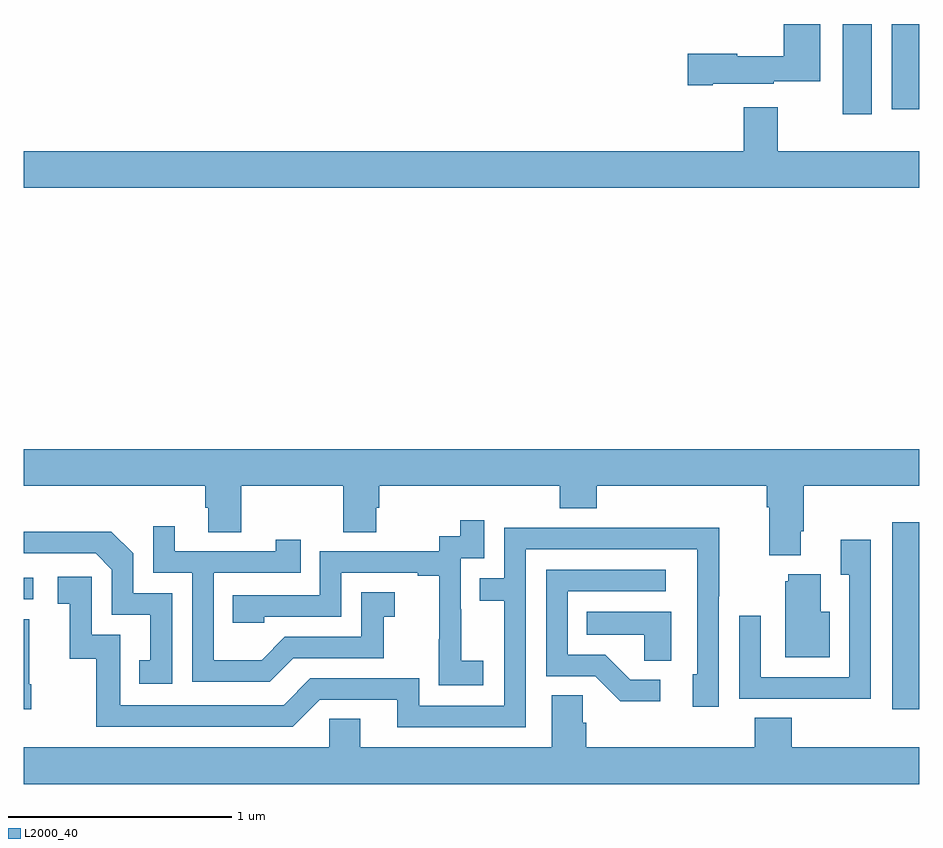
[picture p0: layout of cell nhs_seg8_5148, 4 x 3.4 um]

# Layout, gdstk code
import gdstk
lib = gdstk.Library(unit=1e-6, precision=1e-09)
def R(c, l, rs):  # rectangles x0, y0, x1, y1
    for r in rs: c.add(gdstk.rectangle(r[:2], r[2:], *l))
def P(c, l, *ps):  # polygons
    for p in ps: c.add(gdstk.Polygon(p, *l))
L2000_40 = (2000, 40)

nhs_seg8_5148 = lib.new_cell('nhs_seg8_5148')
R(nhs_seg8_5148, L2000_40, [(424.88,1112.838,425,1113.673), (421,1113.33,421.042,1113.426), (424.658,1115.496,424.789,1115.9), (424.877,1115.52,425,1115.9)])
P(nhs_seg8_5148, L2000_40, [(424.078,1115.633),(424.35,1115.633),(424.35,1115.645),(424.558,1115.645),(424.558,1115.9),(424.396,1115.9),(424.396,1115.755),(424.188,1115.755),(424.188,1115.768),(423.966,1115.768),(423.966,1115.626),(424.078,1115.626)],
  [(425,1115.332),(424.369,1115.332),(424.369,1115.527),(424.217,1115.527),(424.217,1115.332),(421,1115.332),(421,1115.168),(425,1115.168)],
  [(421,1113.836),(421.811,1113.836),(421.811,1113.738),(421.823,1113.738),(421.823,1113.628),(421.971,1113.628),(421.971,1113.836),(422.428,1113.836),(422.428,1113.628),(422.575,1113.628),(422.575,1113.738),(422.588,1113.738),(422.588,1113.836),(423.395,1113.836),(423.395,1113.737),(423.56,1113.737),(423.56,1113.836),(424.319,1113.836),(424.319,1113.74),(424.331,1113.74),(424.331,1113.527),(424.471,1113.527),(424.471,1113.634),(424.484,1113.634),(424.484,1113.836),(425,1113.836),(425,1114),(421,1114)],
  [(423.052,1113.055),(422.954,1113.055),(422.954,1113.284),(422.952,1113.284),(422.952,1113.513),(423.057,1113.513),(423.057,1113.682),(422.949,1113.682),(422.949,1113.612),(422.856,1113.612),(422.856,1113.543),(422.322,1113.543),(422.322,1113.348),(421.933,1113.348),(421.933,1113.225),(422.073,1113.225),(422.073,1113.252),(422.418,1113.252),(422.418,1113.447),(422.759,1113.447),(422.759,1113.435),(422.855,1113.435),(422.855,1113.151),(422.854,1113.151),(422.854,1112.945),(423.052,1112.945)],
  [(422.203,1113.066),(422.607,1113.066),(422.607,1113.251),(422.656,1113.251),(422.656,1113.361),(422.508,1113.361),(422.508,1113.162),(422.166,1113.162),(422.062,1113.058),(421.848,1113.058),(421.848,1113.447),(422.237,1113.447),(422.237,1113.595),(422.126,1113.595),(422.126,1113.543),(421.675,1113.543),(421.675,1113.655),(421.578,1113.655),(421.578,1113.447),(421.752,1113.447),(421.752,1112.961),(422.098,1112.961)],
  [(423.243,1113.552),(424.008,1113.552),(424.008,1112.994),(423.989,1112.994),(423.989,1112.85),(424.104,1112.85),(424.104,1113.343),(424.107,1113.343),(424.107,1113.65),(423.643,1113.65),(423.643,1113.648),(423.147,1113.648),(423.147,1113.423),(423.037,1113.423),(423.037,1113.322),(423.147,1113.322),(423.147,1112.853),(422.766,1112.853),(422.766,1112.976),(422.28,1112.976),(422.16,1112.856),(421.431,1112.856),(421.431,1113.171),(421.302,1113.171),(421.302,1113.43),(421.152,1113.43),(421.152,1113.309),(421.205,1113.309),(421.205,1113.063),(421.323,1113.063),(421.323,1112.76),(422.202,1112.76),(422.322,1112.88),(422.669,1112.88),(422.669,1112.757),(423.243,1112.757)],
  [(421.662,1113.357),(421.488,1113.357),(421.488,1113.534),(421.39,1113.632),(421,1113.632),(421,1113.534),(421.32,1113.534),(421.392,1113.462),(421.392,1113.261),(421.565,1113.261),(421.565,1113.057),(421.516,1113.057),(421.516,1112.952),(421.662,1112.952)],
  [(424.785,1113.595),(424.649,1113.595),(424.649,1113.439),(424.689,1113.439),(424.689,1112.982),(424.293,1112.982),(424.293,1113.256),(424.197,1113.256),(424.197,1112.886),(424.513,1112.886),(424.513,1112.885),(424.785,1112.885)],
  [(423.844,1112.97),(423.709,1112.97),(423.598,1113.081),(423.429,1113.081),(423.429,1113.366),(423.868,1113.366),(423.868,1113.462),(423.333,1113.462),(423.333,1112.985),(423.552,1112.985),(423.665,1112.873),(423.844,1112.873)],
  [(424.6,1113.274),(424.561,1113.274),(424.561,1113.442),(424.415,1113.442),(424.415,1113.411),(424.403,1113.411),(424.403,1113.071),(424.6,1113.071)],
  [(423.892,1113.274),(423.514,1113.274),(423.514,1113.17),(423.771,1113.17),(423.771,1113.055),(423.892,1113.055)],
  [(421.032,1112.95),(421.024,1112.95),(421.024,1113.241),(421,1113.241),(421,1112.838),(421.032,1112.838)],
  [(425,1112.668),(424.43,1112.668),(424.43,1112.801),(424.265,1112.801),(424.265,1112.668),(423.512,1112.668),(423.512,1112.777),(423.498,1112.777),(423.498,1112.9),(423.359,1112.9),(423.359,1112.668),(422.503,1112.668),(422.503,1112.795),(422.364,1112.795),(422.364,1112.668),(421,1112.668),(421,1112.504),(425,1112.504)])

lib.write_gds('nhs_seg8_5148.gds')
